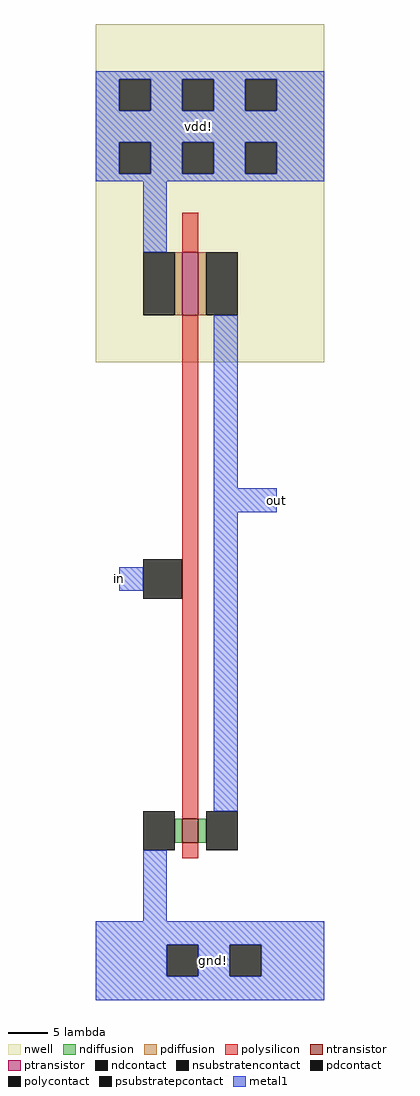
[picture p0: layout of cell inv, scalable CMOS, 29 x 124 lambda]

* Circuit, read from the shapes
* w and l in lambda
.subckt inv gnd! in out vdd!
M1 out in gnd! gnd! nfet w=3 l=2
M2 out in vdd! vdd! pfet w=8 l=2
.ends

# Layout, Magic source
magic
tech scmos
<< nwell >>
rect 0 -103 29 -60
<< ntransistor >>
rect 11 -164 13 -161
<< ptransistor >>
rect 11 -97 13 -89
<< ndiffusion >>
rect 10 -164 11 -161
rect 13 -164 14 -161
<< pdiffusion >>
rect 10 -97 11 -89
rect 13 -97 14 -89
<< ndcontact >>
rect 6 -165 10 -160
rect 14 -165 18 -160
<< pdcontact >>
rect 6 -97 10 -89
rect 14 -97 18 -89
<< psubstratepcontact >>
rect 9 -181 13 -177
rect 17 -181 21 -177
<< nsubstratencontact >>
rect 3 -71 7 -67
rect 11 -71 15 -67
rect 19 -71 23 -67
rect 3 -79 7 -75
rect 11 -79 15 -75
rect 19 -79 23 -75
<< polysilicon >>
rect 11 -89 13 -84
rect 11 -161 13 -97
rect 11 -166 13 -164
<< polycontact >>
rect 6 -133 11 -128
<< metal1 >>
rect 0 -67 29 -66
rect 0 -71 3 -67
rect 7 -71 11 -67
rect 15 -71 19 -67
rect 23 -71 29 -67
rect 0 -75 29 -71
rect 0 -79 3 -75
rect 7 -79 11 -75
rect 15 -79 19 -75
rect 23 -79 29 -75
rect 0 -80 29 -79
rect 6 -89 9 -80
rect 15 -119 18 -97
rect 15 -122 23 -119
rect 3 -132 6 -129
rect 15 -160 18 -122
rect 6 -174 9 -165
rect 0 -177 29 -174
rect 0 -181 9 -177
rect 13 -181 17 -177
rect 21 -181 29 -177
rect 0 -184 29 -181
<< labels >>
rlabel metal1 3 -132 3 -129 3 in
rlabel metal1 23 -122 23 -119 1 out
rlabel metal1 13 -73 13 -73 1 vdd!
rlabel metal1 15 -179 15 -179 1 gnd!
<< end >>
